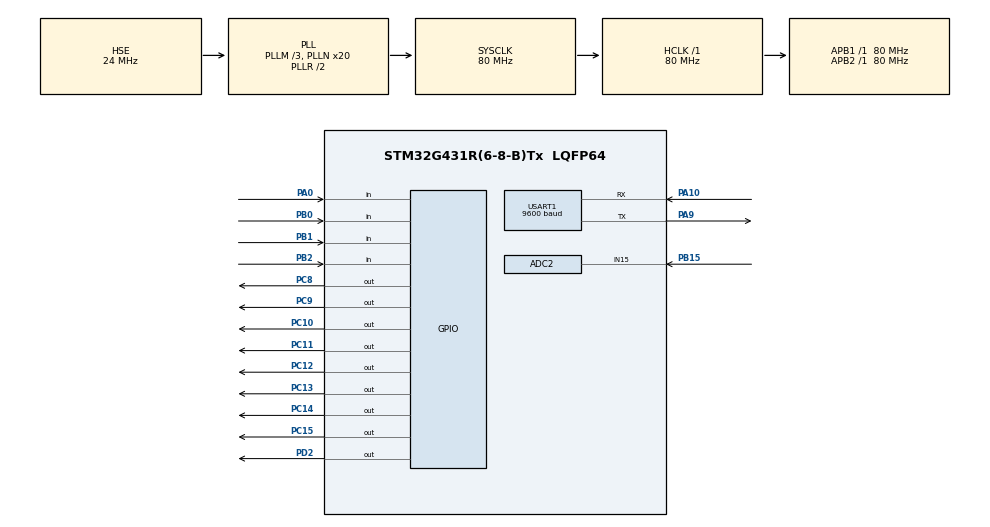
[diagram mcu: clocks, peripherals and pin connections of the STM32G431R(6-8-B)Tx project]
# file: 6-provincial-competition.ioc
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ADC2.Channel-0\#ChannelRegularConversion=ADC_CHANNEL_15
ADC2.NbrOfConversionFlag=1
ADC2.OffsetNumber-0\#ChannelRegularConversion=ADC_OFFSET_NONE
ADC2.Rank-0\#ChannelRegularConversion=1
ADC2.SamplingTime-0\#ChannelRegularConversion=ADC_SAMPLETIME_2CYCLES_5
Mcu.Family=STM32G4
Mcu.Name=STM32G431R(6-8-B)Tx
Mcu.Package=LQFP64
NVIC.PriorityGroup=NVIC_PRIORITYGROUP_4
NVIC.RTC_Alarm_IRQn=true\:0\:0\:false\:false\:true\:true\:true\:true
NVIC.USART1_IRQn=true\:0\:0\:false\:false\:true\:true\:true\:true
PA0.GPIO_PuPd=GPIO_PULLUP
PA0.Signal=GPIO_Input
PA10.Mode=Asynchronous
PA10.Signal=USART1_RX
PA13.Mode=Serial_Wire
PA13.Signal=SYS_JTMS-SWDIO
PA14.Mode=Serial_Wire
PA14.Signal=SYS_JTCK-SWCLK
PA9.Mode=Asynchronous
PA9.Signal=USART1_TX
PB0.GPIO_PuPd=GPIO_PULLUP
PB0.Signal=GPIO_Input
PB1.GPIO_PuPd=GPIO_PULLUP
PB1.Signal=GPIO_Input
PB15.Mode=IN15-Single-Ended
PB15.Signal=ADC2_IN15
PB2.GPIO_PuPd=GPIO_PULLUP
PB2.Signal=GPIO_Input
PC10.PinState=GPIO_PIN_SET
PC10.Signal=GPIO_Output
PC11.PinState=GPIO_PIN_SET
PC11.Signal=GPIO_Output
PC12.PinState=GPIO_PIN_SET
PC12.Signal=GPIO_Output
PC13.PinState=GPIO_PIN_SET
PC13.Signal=GPIO_Output
PC14-OSC32_IN.PinState=GPIO_PIN_SET
PC14-OSC32_IN.Signal=GPIO_Output
PC15-OSC32_OUT.PinState=GPIO_PIN_SET
PC15-OSC32_OUT.Signal=GPIO_Output
PC8.PinState=GPIO_PIN_SET
PC8.Signal=GPIO_Output
PC9.PinState=GPIO_PIN_SET
PC9.Signal=GPIO_Output
PD2.Signal=GPIO_Output
PF0-OSC_IN.Mode=HSE-External-Oscillator
PF0-OSC_IN.Signal=RCC_OSC_IN
PF1-OSC_OUT.Mode=HSE-External-Oscillator
PF1-OSC_OUT.Signal=RCC_OSC_OUT
ProjectManager.HeapSize=0x200
ProjectManager.StackSize=0x400
ProjectManager.TargetToolchain=MDK-ARM V5.32
RCC.ADC12Freq_Value=80000000
RCC.AHBFreq_Value=80000000
RCC.APB1Freq_Value=80000000
RCC.APB1TimFreq_Value=80000000
RCC.APB2Freq_Value=80000000
RCC.APB2TimFreq_Value=80000000
RCC.CortexFreq_Value=80000000
RCC.EXTERNAL_CLOCK_VALUE=12288000
RCC.HCLKFreq_Value=80000000
RCC.HSE_VALUE=24000000
RCC.HSI48_VALUE=48000000
RCC.HSI_VALUE=16000000
RCC.LSE_VALUE=32768
RCC.PLLM=RCC_PLLM_DIV3
RCC.PLLN=20
RCC.PLLSourceVirtual=RCC_PLLSOURCE_HSE
RCC.RTCClockSelection=RCC_RTCCLKSOURCE_HSE_DIV32
RCC.SYSCLKFreq_VALUE=80000000
RCC.SYSCLKSource=RCC_SYSCLKSOURCE_PLLCLK
RCC.USBFreq_Value=80000000
RCC.VCOOutputFreq_Value=160000000
RTC.Alarm-Alarm\ A=RTC_ALARM_A
RTC.AlarmMaskDateWeekDay-Alarm\ A=RTC_ALARMMASK_DATEWEEKDAY
RTC.AsynchPrediv=125
RTC.Date=8
RTC.Format=RTC_FORMAT_BIN
RTC.Hours=23
RTC.Minutes=59
RTC.Seconds=55
RTC.SynchPrediv=6000
RTC.WeekDay=RTC_WEEKDAY_WEDNESDAY
RTC.Year=25
USART1.BaudRate=9600
USART1.VirtualMode-Asynchronous=VM_ASYNC
VP_RTC_VS_RTC_Activate.Mode=RTC_Enabled
VP_RTC_VS_RTC_Alarm_A_Intern.Mode=Alarm A
VP_RTC_VS_RTC_Calendar.Mode=RTC_Calendar
VP_SYS_VS_DBSignals.Mode=DisableDeadBatterySignals
board=custom

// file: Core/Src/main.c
/* USER CODE BEGIN Header */
/**
  ******************************************************************************
  * @file           : main.c
  * @brief          : Main program body
  ******************************************************************************
  * @attention
  *
  * Copyright (c) 2025 STMicroelectronics.
  * All rights reserved.
  *
  * This software is licensed under terms that can be found in the LICENSE file
  * in the root directory of this software component.
  * If no LICENSE file comes with this software, it is provided AS-IS.
  *
  ******************************************************************************
  */
/* USER CODE END Header */
#include "main.h"
#include "adc.h"
#include "rtc.h"
#include "usart.h"
#include "gpio.h"

/* USER CODE BEGIN Includes */
#include "header.h"
/* USER CODE END Includes */

void SystemClock_Config(void);
/* USER CODE BEGIN PFP */
double Get_ADC_Vol(ADC_HandleTypeDef *hadc);
/* USER CODE END PFP */

/* USER CODE BEGIN 0 */
char text[20];
uint8_t led_mode, page;
double V1, k=0.1;
RTC_TimeTypeDef sTime;
RTC_DateTypeDef sDate;
uint8_t hours, minutes, seconds, hcount;
void LCD_Proc(){
    if(page==0){
        V1=Get_ADC_Vol(&hadc2);
        k=EEPROM_Read(0)*1.0/10;
        sprintf(text, "    V1:%.2fV         ", V1);
        LCD_DisplayStringLine(Line2, (uint8_t*)text);
        sprintf(text, "    k:%.1f         ", k);
        LCD_DisplayStringLine(Line3, (uint8_t*)text);
        sprintf(text, "    LED:%s         ", led_flag==1?"ON":"OFF");
        LCD_DisplayStringLine(Line4, (uint8_t*)text);
        HAL_RTC_GetDate(&hrtc, &sDate, RTC_FORMAT_BIN);
        HAL_RTC_GetTime(&hrtc, &sTime, RTC_FORMAT_BIN);
        sprintf(text, "    T:%02d-%02d-%02d        ", sTime.Hours, sTime.Minutes, sTime.Seconds);
        LCD_DisplayStringLine(Line5, (uint8_t*)text);
    }else if(page==1){
        sprintf(text, "      Setting       ");
        LCD_DisplayStringLine(Line2, (uint8_t*)text);
        sprintf(text, "      %02d-%02d-%02d      ", hours, minutes, seconds);
        LCD_DisplayStringLine(Line5, (uint8_t*)text);
    }
}
/* USER CODE END 0 */

int main(void)
{

  /* MCU Configuration--------------------------------------------------------*/

  /* Reset of all peripherals, Initializes the Flash interface and the Systick. */
  HAL_Init();

  /* Configure the system clock */
  SystemClock_Config();

  /* Initialize all configured peripherals */
  MX_GPIO_Init();
  MX_RTC_Init();
  MX_ADC2_Init();
  MX_USART1_UART_Init();
  /* USER CODE BEGIN 2 */
    // LCD配置
    LCD_Init();
    LCD_Clear(Black);
    LCD_SetBackColor(Black);
    LCD_SetTextColor(White);
    // ADC校准
    HAL_ADCEx_Calibration_Start(&hadc2, ADC_SINGLE_ENDED);
    // 打开接收中断
    HAL_UART_Receive_IT(&huart1, &rec_data, 1);
    // 初始化I2C
    I2CInit();
  /* USER CODE END 2 */

  /* Infinite loop */
  /* USER CODE BEGIN WHILE */
  while (1)
  {
      LCD_Proc();
      LED_Proc();
      UART_Proc();
    /* USER CODE END WHILE */

  }
}

void SystemClock_Config(void)
{
  RCC_OscInitTypeDef RCC_OscInitStruct = {0};
  RCC_ClkInitTypeDef RCC_ClkInitStruct = {0};

  /** Configure the main internal regulator output voltage
  */
  HAL_PWREx_ControlVoltageScaling(PWR_REGULATOR_VOLTAGE_SCALE1);

  /** Initializes the RCC Oscillators according to the specified parameters
  * in the RCC_OscInitTypeDef structure.
  */
  RCC_OscInitStruct.OscillatorType = RCC_OSCILLATORTYPE_HSE;
  RCC_OscInitStruct.HSEState = RCC_HSE_ON;
  RCC_OscInitStruct.PLL.PLLState = RCC_PLL_ON;
  RCC_OscInitStruct.PLL.PLLSource = RCC_PLLSOURCE_HSE;
  RCC_OscInitStruct.PLL.PLLM = RCC_PLLM_DIV3;
  RCC_OscInitStruct.PLL.PLLN = 20;
  RCC_OscInitStruct.PLL.PLLP = RCC_PLLP_DIV2;
  RCC_OscInitStruct.PLL.PLLQ = RCC_PLLQ_DIV2;
  RCC_OscInitStruct.PLL.PLLR = RCC_PLLR_DIV2;
  if (HAL_RCC_OscConfig(&RCC_OscInitStruct) != HAL_OK)
  {
    Error_Handler();
  }

  /** Initializes the CPU, AHB and APB buses clocks
  */
  RCC_ClkInitStruct.ClockType = RCC_CLOCKTYPE_HCLK|RCC_CLOCKTYPE_SYSCLK
                              |RCC_CLOCKTYPE_PCLK1|RCC_CLOCKTYPE_PCLK2;
  RCC_ClkInitStruct.SYSCLKSource = RCC_SYSCLKSOURCE_PLLCLK;
  RCC_ClkInitStruct.AHBCLKDivider = RCC_SYSCLK_DIV1;
  RCC_ClkInitStruct.APB1CLKDivider = RCC_HCLK_DIV1;
  RCC_ClkInitStruct.APB2CLKDivider = RCC_HCLK_DIV1;

  if (HAL_RCC_ClockConfig(&RCC_ClkInitStruct, FLASH_LATENCY_2) != HAL_OK)
  {
    Error_Handler();
  }
}

/* USER CODE BEGIN 4 */
void HAL_RTC_AlarmAEventCallback(RTC_HandleTypeDef *hrtc){
    send_flag=1;
}
double Get_ADC_Vol(ADC_HandleTypeDef *hadc){
    HAL_ADC_Start(hadc);
    uint32_t vol=HAL_ADC_GetValue(hadc);
    return vol*3.3/4096;
}
/* USER CODE END 4 */

void Error_Handler(void)
{
  __disable_irq();
  while (1)
  {
  }
}
